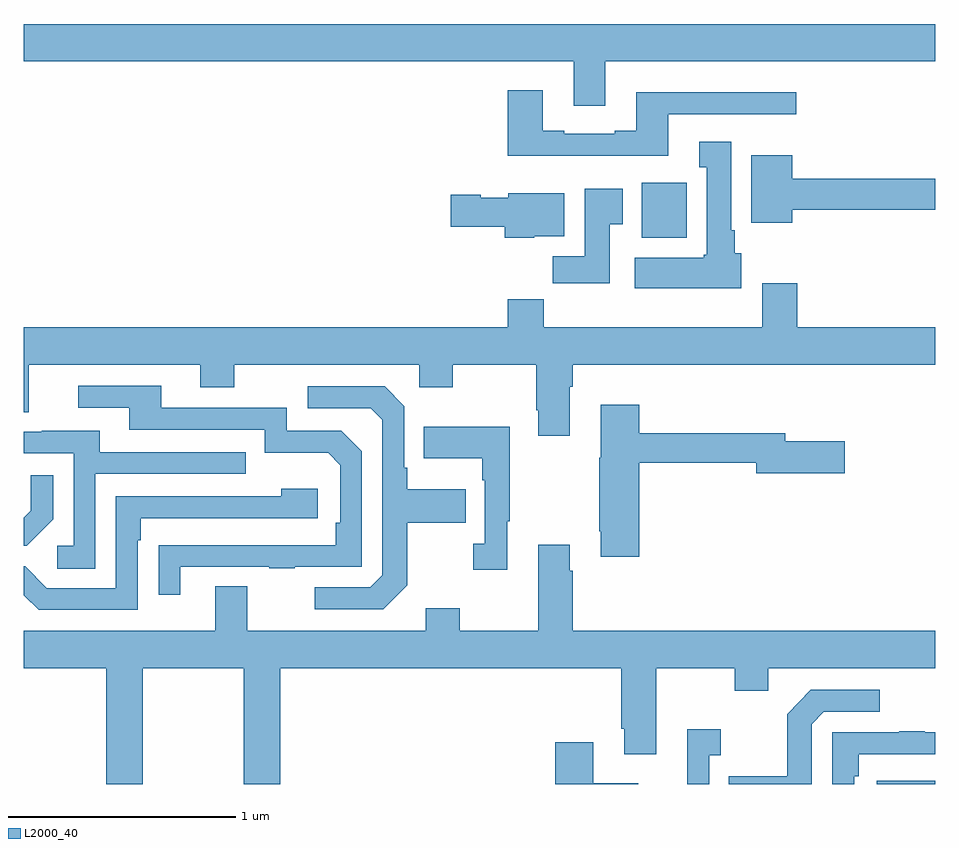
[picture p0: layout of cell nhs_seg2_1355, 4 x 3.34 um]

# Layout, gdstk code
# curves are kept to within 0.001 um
import gdstk
lib = gdstk.Library(unit=1e-6, precision=1e-09)
def R(c, l, rs):  # rectangles x0, y0, x1, y1
    for r in rs: c.add(gdstk.rectangle(r[:2], r[2:], *l))
def P(c, l, *ps):  # polygons
    for p in ps: c.add(gdstk.Polygon(p, *l))
L2000_40 = (2000, 40)

nhs_seg2_1355 = lib.new_cell('nhs_seg2_1355')
R(nhs_seg2_1355, L2000_40, [(184.743,641.8,185,641.814), (183.713,644.198,183.91,644.44)])
P(nhs_seg2_1355, L2000_40, [(183.553,644.972),(185,644.972),(185,645.136),(181,645.136),(181,644.972),(183.413,644.972),(183.413,644.778),(183.553,644.778)],
  [(183.829,644.739),(184.39,644.739),(184.39,644.836),(183.689,644.836),(183.689,644.668),(183.593,644.668),(183.593,644.655),(183.373,644.655),(183.373,644.668),(183.277,644.668),(183.277,644.845),(183.125,644.845),(183.125,644.558),(183.829,644.558)],
  [(184.15,644.13),(184.12,644.13),(184.12,644.23),(184.105,644.23),(184.105,644.62),(183.965,644.62),(183.965,644.507),(183.998,644.507),(183.998,644.124),(183.985,644.124),(183.985,644.11),(183.681,644.11),(183.681,643.976),(184.15,643.976)],
  [(184.372,644.32),(185,644.32),(185,644.456),(184.372,644.456),(184.372,644.56),(184.193,644.56),(184.193,644.264),(184.372,644.264)],
  [(183.571,644.257),(183.628,644.257),(183.628,644.413),(183.461,644.413),(183.461,644.116),(183.322,644.116),(183.322,643.998),(183.571,643.998)],
  [(183.24,644.204),(183.373,644.204),(183.373,644.392),(183.126,644.392),(183.126,644.374),(183.006,644.374),(183.006,644.387),(182.874,644.387),(182.874,644.245),(183.11,644.245),(183.11,644.198),(183.24,644.198)],
  [(183.397,643.544),(183.41,643.544),(183.41,643.64),(185,643.64),(185,643.804),(184.394,643.804),(184.394,643.999),(184.241,643.999),(184.241,643.804),(183.281,643.804),(183.281,643.928),(183.125,643.928),(183.125,643.804),(181,643.804),(181,643.432),(181.021,643.432),(181.021,643.64),(181.775,643.64),(181.775,643.541),(181.923,643.541),(181.923,643.64),(182.736,643.64),(182.736,643.541),(182.883,643.541),(182.883,643.64),(183.25,643.64),(183.25,643.441),(183.257,643.441),(183.257,643.329),(183.397,643.329)],
  [(181.687,642.753),(182.077,642.753),(182.077,642.748),(182.189,642.748),(182.189,642.753),(182.484,642.753),(182.484,643.26),(182.394,643.35),(182.154,643.35),(182.154,643.452),(181.603,643.452),(181.603,643.548),(181.239,643.548),(181.239,643.452),(181.463,643.452),(181.463,643.356),(182.058,643.356),(182.058,643.253),(182.335,643.253),(182.388,643.2),(182.388,642.946),(182.368,642.946),(182.368,642.849),(181.591,642.848),(181.591,642.63),(181.687,642.63)],
  [(182.683,642.673),(182.683,642.946),(182.939,642.946),(182.939,643.093),(182.683,643.093),(182.683,643.189),(182.67,643.189),(182.67,643.458),(182.583,643.545),(182.247,643.545),(182.247,643.449),(182.523,643.449),(182.574,643.398),(182.574,642.717),(182.52,642.663),(182.277,642.663),(182.277,642.567),(182.577,642.567)],
  [(183.701,643.21),(184.214,643.21),(184.214,643.163),(184.603,643.163),(184.603,643.305),(184.342,643.305),(184.342,643.339),(183.701,643.339),(183.701,643.465),(183.533,643.465),(183.533,643.233),(183.526,643.233),(183.526,642.91),(183.533,642.91),(183.533,642.798),(183.701,642.798)],
  [(183.121,642.953),(183.133,642.953),(183.133,643.369),(182.755,643.369),(182.755,643.229),(183.012,643.229),(183.012,643.133),(183.024,643.133),(183.024,642.854),(182.973,642.854),(182.973,642.741),(183.121,642.741)],
  [(181.314,643.161),(181.973,643.161),(181.973,643.257),(181.333,643.257),(181.333,643.351),(181.079,643.351),(181.079,643.347),(181,643.347),(181,643.251),(181.218,643.251),(181.218,642.846),(181.146,642.846),(181.146,642.745),(181.314,642.745)],
  [(181.128,642.962),(181.128,643.156),(181.031,643.156),(181.031,642.999),(181,642.968),(181,642.846),(181.012,642.846)],
  [(181.5,642.869),(181.513,642.869),(181.513,642.966),(182.29,642.966),(182.29,643.096),(182.129,643.096),(182.129,643.062),(181.404,643.062),(181.404,642.66),(181.101,642.66),(181.005,642.756),(181,642.756),(181,642.629),(181.065,642.564),(181.5,642.564)],
  [(181.521,642.308),(181.966,642.308),(181.966,641.8),(182.126,641.8),(182.126,642.308),(183.623,642.308),(183.623,642.043),(183.635,642.043),(183.635,641.931),(183.775,641.931),(183.775,642.308),(184.12,642.308),(184.12,642.209),(184.267,642.209),(184.267,642.308),(185,642.308),(185,642.472),(183.41,642.472),(183.41,642.737),(183.397,642.737),(183.397,642.85),(183.257,642.85),(183.257,642.472),(182.913,642.472),(182.913,642.571),(182.765,642.571),(182.765,642.472),(181.981,642.472),(181.981,642.667),(181.841,642.667),(181.841,642.472),(181,642.472),(181,642.308),(181.361,642.308),(181.361,641.8),(181.521,641.8)],
  [(184.458,642.063),(184.512,642.117),(184.756,642.117),(184.756,642.213),(184.455,642.213),(184.35,642.107),(184.35,641.835),(184.093,641.835),(184.093,641.8),(184.458,641.8)],
  [(184.008,641.927),(184.06,641.927),(184.06,642.04),(183.911,642.04),(183.911,641.8),(184.008,641.8)],
  [(184.644,641.834),(184.664,641.834),(184.664,641.931),(185,641.931),(185,642.027),(184.955,642.027),(184.955,642.032),(184.843,642.032),(184.843,642.027),(184.548,642.027),(184.548,641.8),(184.644,641.8)],
  [(183.697,641.803),(183.499,641.803),(183.499,641.983),(183.332,641.983),(183.332,641.8),(183.697,641.8)])

lib.write_gds('nhs_seg2_1355.gds')
